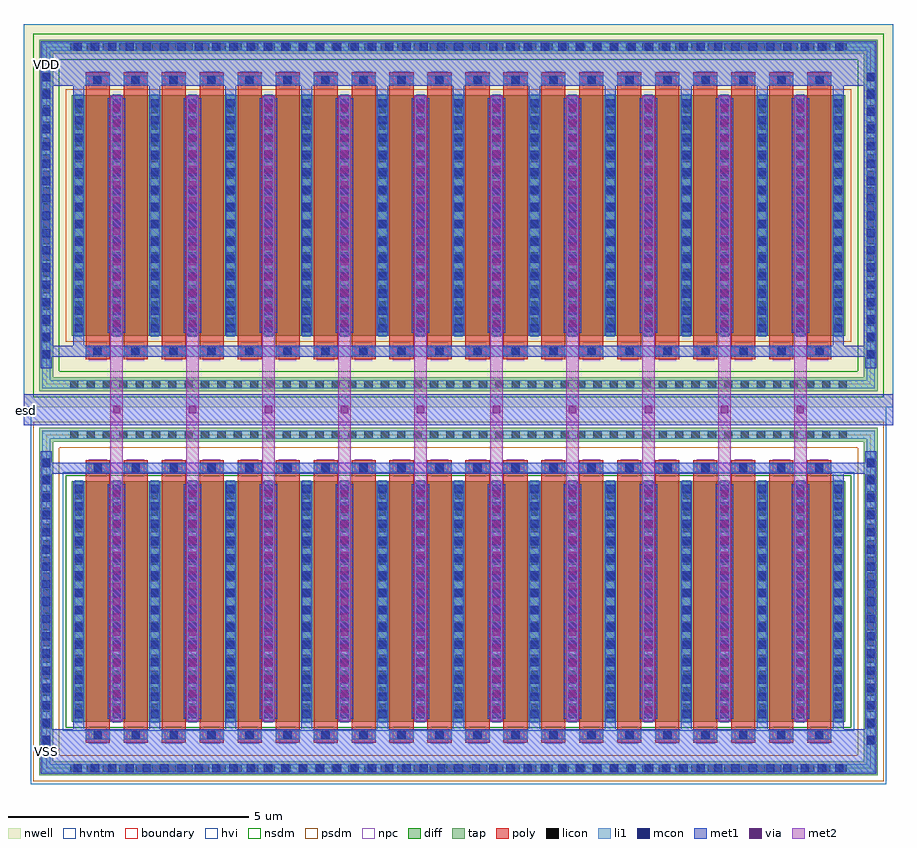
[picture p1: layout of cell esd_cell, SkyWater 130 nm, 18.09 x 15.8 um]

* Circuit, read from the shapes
.subckt esd_cell VDD VSS esd
XM1 esd VSS VSS VSS sky130_fd_pr__nfet_g5v0d10v5 w=5 l=0.5 m=20
XM2 esd VDD VDD VDD sky130_fd_pr__pfet_g5v0d10v5 w=5 l=0.5 m=20
.ends

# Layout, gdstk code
import gdstk
lib = gdstk.Library(unit=1e-6, precision=1e-09)
def R(c, l, rs):  # rectangles x0, y0, x1, y1
    for r in rs: c.add(gdstk.rectangle(r[:2], r[2:], *l))
def A(c, l, x, y, w, h, nx, ny, dx, dy):  # array of equal rectangles
    R(c, l, [(x+i*dx, y+j*dy, x+i*dx+w, y+j*dy+h) for i in range(nx) for j in range(ny)])
nwell = (64, 20)
diff = (65, 20)
tap = (65, 44)
poly = (66, 20)
licon = (66, 44)
li1 = (67, 20)
mcon = (67, 44)
met1 = (68, 20)
via = (68, 44)
met2 = (69, 20)
hvi = (75, 20)
nsdm = (93, 44)
psdm = (94, 20)
npc = (95, 20)
hvntm = (125, 20)
boundary = (235, 4)

sky130_fd_pr__pfet_g5v0d = lib.new_cell('sky130_fd_pr__pfet_g5v0d10v5_CADZ46')
R(sky130_fd_pr__pfet_g5v0d, nwell, [(-9.045,-3.985,9.045,3.985)])
R(sky130_fd_pr__pfet_g5v0d, diff, [(-8.045,-2.5,8.045,2.5)])
R(sky130_fd_pr__pfet_g5v0d, tap, [(-8.715,-3.655,8.715,-3.365), (-8.715,-3.365,-8.425,3.365), (8.425,-3.365,8.715,3.365), (-8.715,3.365,8.715,3.655)])
A(sky130_fd_pr__pfet_g5v0d, poly, -7.755, -2.985, 0.5, 5.97, 20, 1, 0.79, 0)
A(sky130_fd_pr__pfet_g5v0d, licon, -8.075, -3.595, 0.17, 0.17, 48, 2, 0.34, 7.02)
A(sky130_fd_pr__pfet_g5v0d, licon, -8.655, -2.975, 0.17, 0.17, 1, 18, 0, 0.34)
A(sky130_fd_pr__pfet_g5v0d, licon, 8.485, -2.975, 0.17, 0.17, 1, 18, 0, 0.34)
A(sky130_fd_pr__pfet_g5v0d, licon, -7.59, -2.905, 0.17, 0.17, 20, 2, 0.79, 5.64)
A(sky130_fd_pr__pfet_g5v0d, licon, -7.985, -2.295, 0.17, 0.17, 21, 14, 0.79, 0.34)
A(sky130_fd_pr__pfet_g5v0d, li1, -7.755, -2.905, 0.5, 0.17, 20, 2, 0.79, 5.64)
A(sky130_fd_pr__pfet_g5v0d, li1, -7.985, -2.52, 0.17, 5.04, 21, 1, 0.79, 0)
R(sky130_fd_pr__pfet_g5v0d, li1, [(-8.655,-3.595,8.655,-3.425), (-8.655,-3.425,-8.485,3.425), (8.485,-3.425,8.655,3.425), (-8.655,3.425,8.655,3.595)])
A(sky130_fd_pr__pfet_g5v0d, mcon, -7.595, -2.905, 0.17, 0.17, 10, 2, 0.79, 5.64)
A(sky130_fd_pr__pfet_g5v0d, mcon, 0.315, -2.905, 0.17, 0.17, 10, 2, 0.79, 5.64)
A(sky130_fd_pr__pfet_g5v0d, mcon, -7.985, -2.425, 0.17, 0.17, 21, 14, 0.79, 0.36)
A(sky130_fd_pr__pfet_g5v0d, met1, -7.655, -2.935, 0.29, 0.23, 10, 2, 0.79, 5.64)
A(sky130_fd_pr__pfet_g5v0d, met1, 0.255, -2.935, 0.29, 0.23, 10, 2, 0.79, 5.64)
A(sky130_fd_pr__pfet_g5v0d, met1, -8.015, -2.5, 0.23, 5, 21, 1, 0.79, 0)
R(sky130_fd_pr__pfet_g5v0d, hvi, [(-9.045,-3.985,9.045,3.985)])
R(sky130_fd_pr__pfet_g5v0d, nsdm, [(-8.84,-3.78,8.84,-3.24), (-8.84,-3.24,-8.3,3.24), (8.3,-3.24,8.84,3.24), (-8.84,3.24,8.84,3.78)])
R(sky130_fd_pr__pfet_g5v0d, psdm, [(-8.17,-2.625,8.17,2.625)])
A(sky130_fd_pr__pfet_g5v0d, npc, -7.69, -3.005, 0.37, 0.37, 20, 2, 0.79, 5.64)
R(sky130_fd_pr__pfet_g5v0d, boundary, [(-8.57,-3.51,8.57,3.51)])

sky130_fd_pr__nfet_g5v0d = lib.new_cell('sky130_fd_pr__nfet_g5v0d10v5_BRTJC6')
R(sky130_fd_pr__nfet_g5v0d, diff, [(-8.045,-2.5,8.045,2.5)])
R(sky130_fd_pr__nfet_g5v0d, tap, [(-8.715,-3.61,8.715,-3.32), (-8.715,-3.32,-8.425,3.32), (8.425,-3.32,8.715,3.32), (-8.715,3.32,8.715,3.61)])
A(sky130_fd_pr__nfet_g5v0d, poly, -7.755, -2.94, 0.5, 5.88, 20, 1, 0.79, 0)
A(sky130_fd_pr__nfet_g5v0d, licon, -8.075, -3.55, 0.17, 0.17, 48, 2, 0.34, 6.93)
A(sky130_fd_pr__nfet_g5v0d, licon, -8.655, -2.975, 0.17, 0.17, 1, 18, 0, 0.34)
A(sky130_fd_pr__nfet_g5v0d, licon, 8.485, -2.975, 0.17, 0.17, 1, 18, 0, 0.34)
A(sky130_fd_pr__nfet_g5v0d, licon, -7.59, -2.86, 0.17, 0.17, 20, 2, 0.79, 5.55)
A(sky130_fd_pr__nfet_g5v0d, licon, -7.985, -2.295, 0.17, 0.17, 21, 14, 0.79, 0.34)
A(sky130_fd_pr__nfet_g5v0d, li1, -7.755, -2.86, 0.5, 0.17, 20, 2, 0.79, 5.55)
A(sky130_fd_pr__nfet_g5v0d, li1, -7.985, -2.52, 0.17, 5.04, 21, 1, 0.79, 0)
R(sky130_fd_pr__nfet_g5v0d, li1, [(-8.655,-3.55,8.655,-3.38), (-8.655,-3.38,-8.485,3.38), (8.485,-3.38,8.655,3.38), (-8.655,3.38,8.655,3.55)])
A(sky130_fd_pr__nfet_g5v0d, mcon, -7.59, -2.86, 0.17, 0.17, 20, 2, 0.79, 5.55)
A(sky130_fd_pr__nfet_g5v0d, mcon, -7.985, -2.425, 0.17, 0.17, 21, 14, 0.79, 0.36)
A(sky130_fd_pr__nfet_g5v0d, met1, -7.65, -2.89, 0.29, 0.23, 20, 2, 0.79, 5.55)
A(sky130_fd_pr__nfet_g5v0d, met1, -8.015, -2.5, 0.23, 5, 21, 1, 0.79, 0)
R(sky130_fd_pr__nfet_g5v0d, hvi, [(-8.9,-3.795,8.9,3.795)])
R(sky130_fd_pr__nfet_g5v0d, nsdm, [(-8.17,-2.625,8.17,2.625)])
R(sky130_fd_pr__nfet_g5v0d, psdm, [(-8.84,-3.735,8.84,-3.195), (-8.84,-3.195,-8.3,3.195), (8.3,-3.195,8.84,3.195), (-8.84,3.195,8.84,3.735)])
A(sky130_fd_pr__nfet_g5v0d, npc, -7.69, -2.96, 0.37, 0.37, 20, 2, 0.79, 5.55)
R(sky130_fd_pr__nfet_g5v0d, hvntm, [(-8.23,-2.685,8.23,2.685)])
R(sky130_fd_pr__nfet_g5v0d, boundary, [(-8.57,-3.465,8.57,3.465)])

esd_cell = lib.new_cell('esd_cell')
A(esd_cell, nwell, 5.445, 13.98, 0.23, 0.23, 8, 1, 1.58, 0)
R(esd_cell, nwell, [(15.7,7.505,15.96,7.72), (0.705,8.555,0.935,9.07), (16.505,8.785,16.735,8.99)])
A(esd_cell, diff, 0.705, 0.965, 0.23, 0.06, 10, 1, 1.58, 0)
A(esd_cell, diff, 5.445, 13.98, 0.23, 0.01, 8, 1, 1.58, 0)
A(esd_cell, li1, 0.735, 0.945, 0.17, 0.08, 10, 1, 1.58, 0)
A(esd_cell, li1, 5.475, 13.98, 0.17, 0.03, 8, 1, 1.58, 0)
R(esd_cell, li1, [(0.545,-0.085,16.895,0.085), (0.065,0.395,0.235,6.535), (17.205,0.395,17.375,6.535), (0.065,8.375,0.235,14.605), (17.205,8.375,17.375,14.605), (0.545,14.915,16.895,15.085)])
A(esd_cell, mcon, 0.715, -0.085, 0.17, 0.17, 45, 2, 0.36, 15)
A(esd_cell, mcon, 0.065, 0.5, 0.17, 0.17, 1, 17, 0, 0.36)
A(esd_cell, mcon, 17.205, 0.5, 0.17, 0.17, 1, 17, 0, 0.36)
A(esd_cell, mcon, 0.065, 8.525, 0.17, 0.17, 1, 17, 0, 0.36)
A(esd_cell, mcon, 17.205, 8.525, 0.17, 0.17, 1, 17, 0, 0.36)
A(esd_cell, met1, 0.705, 0.805, 0.23, 0.22, 10, 1, 1.58, 0)
A(esd_cell, met1, 1.43, 1.025, 0.36, 4.88, 10, 2, 1.58, 8.025)
A(esd_cell, met1, 3.865, 13.98, 0.23, 0.215, 9, 1, 1.58, 0)
R(esd_cell, met1, [(0.035,-0.115,17.405,0.805), (0.035,0.805,0.265,6.125), (16.505,0.805,16.735,1.02), (17.175,0.805,17.405,6.125), (16.505,5.945,16.735,6.125), (0.035,6.125,17.405,6.355), (0.035,6.355,0.265,6.595), (17.175,6.355,17.405,6.595), (-0.325,7.135,17.765,7.775), (0.035,8.315,0.265,8.555), (17.175,8.315,17.405,8.555), (0.035,8.555,17.405,8.785), (0.035,8.785,0.295,14.195), (0.705,8.785,0.935,9.07), (16.505,8.785,16.735,8.99), (17.145,8.785,17.405,14.195), (0.705,13.945,0.935,14.195), (2.285,13.975,2.515,14.195), (0.035,14.195,17.405,15.115)])
A(esd_cell, via, 1.535, 1.15, 0.15, 0.15, 10, 15, 1.58, 0.32)
A(esd_cell, via, 1.535, 7.385, 0.15, 0.15, 10, 2, 1.58, 1.79)
A(esd_cell, via, 1.535, 9.495, 0.15, 0.15, 10, 14, 1.58, 0.32)
A(esd_cell, met2, 1.48, 0.975, 0.26, 13.005, 10, 1, 1.58, 0)
A(esd_cell, hvi, 0.4, 0.575, 0.84, 0.84, 10, 1, 1.58, 0)
A(esd_cell, hvi, 5.14, 13.445, 0.84, 0.12, 8, 1, 1.58, 0)
A(esd_cell, hvi, 5.14, 14.405, 0.84, 0.22, 8, 1, 1.58, 0)
R(esd_cell, hvi, [(-0.18,7.26,17.62,7.505), (5.14,13.565,17.25,14.405)])
A(esd_cell, nsdm, 0.58, 0.84, 0.48, 0.31, 10, 1, 1.58, 0)
A(esd_cell, psdm, 5.32, 13.855, 0.48, 0.26, 8, 1, 1.58, 0)
esd_cell.add(gdstk.Reference(sky130_fd_pr__pfet_g5v0d, (8.72,11.49)))
esd_cell.add(gdstk.Reference(sky130_fd_pr__nfet_g5v0d, (8.72,3.465)))
esd_cell.add(gdstk.Label('esd', (-0.27,7.435), layer=68, texttype=5))
esd_cell.add(gdstk.Label('VDD', (0.15,14.635), layer=68, texttype=5))
esd_cell.add(gdstk.Label('VSS', (0.15,0.355), layer=68, texttype=5))

lib.write_gds('esd_cell.gds')
